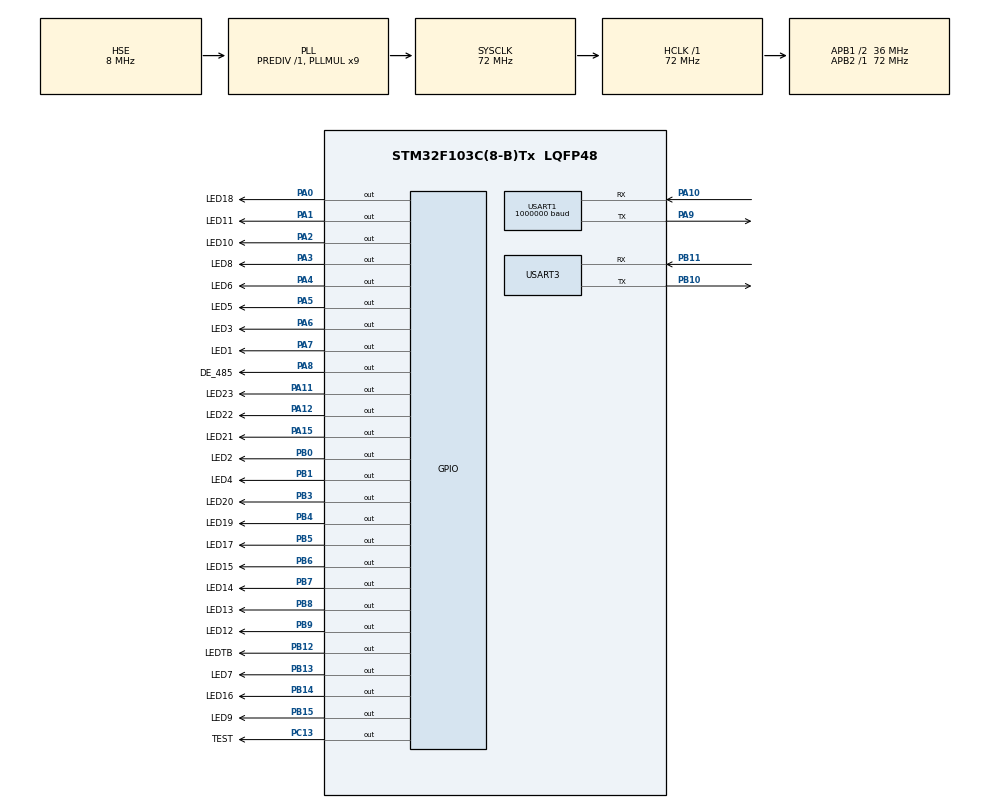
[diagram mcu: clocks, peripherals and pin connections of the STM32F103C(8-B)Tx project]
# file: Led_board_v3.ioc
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Mcu.Family=STM32F1
Mcu.Name=STM32F103C(8-B)Tx
Mcu.Package=LQFP48
NVIC.PriorityGroup=NVIC_PRIORITYGROUP_4
NVIC.TIM1_UP_IRQn=true\:2\:0\:true\:false\:true\:true\:true\:true
NVIC.TIM2_IRQn=true\:1\:0\:true\:false\:true\:true\:true\:true
NVIC.USART1_IRQn=true\:0\:0\:false\:false\:true\:true\:true\:true
NVIC.USART3_IRQn=true\:0\:0\:false\:false\:true\:true\:true\:true
PA0-WKUP.GPIO_Label=LED18
PA0-WKUP.Signal=GPIO_Output
PA1.GPIO_Label=LED11
PA1.Signal=GPIO_Output
PA10.Mode=Asynchronous
PA10.Signal=USART1_RX
PA11.GPIO_Label=LED23
PA11.Signal=GPIO_Output
PA12.GPIO_Label=LED22
PA12.Signal=GPIO_Output
PA13.Mode=Serial_Wire
PA13.Signal=SYS_JTMS-SWDIO
PA14.Mode=Serial_Wire
PA14.Signal=SYS_JTCK-SWCLK
PA15.GPIO_Label=LED21
PA15.Signal=GPIO_Output
PA2.GPIO_Label=LED10
PA2.Signal=GPIO_Output
PA3.GPIO_Label=LED8
PA3.Signal=GPIO_Output
PA4.GPIO_Label=LED6
PA4.Signal=GPIO_Output
PA5.GPIO_Label=LED5
PA5.Signal=GPIO_Output
PA6.GPIO_Label=LED3
PA6.Signal=GPIO_Output
PA7.GPIO_Label=LED1
PA7.Signal=GPIO_Output
PA8.GPIO_Label=DE_485
PA8.Signal=GPIO_Output
PA9.Mode=Asynchronous
PA9.Signal=USART1_TX
PB0.GPIO_Label=LED2
PB0.Signal=GPIO_Output
PB1.GPIO_Label=LED4
PB1.Signal=GPIO_Output
PB10.Mode=Asynchronous
PB10.Signal=USART3_TX
PB11.Mode=Asynchronous
PB11.Signal=USART3_RX
PB12.GPIO_Label=LEDTB
PB12.Signal=GPIO_Output
PB13.GPIO_Label=LED7
PB13.Signal=GPIO_Output
PB14.GPIO_Label=LED16
PB14.Signal=GPIO_Output
PB15.GPIO_Label=LED9
PB15.Signal=GPIO_Output
PB3.GPIO_Label=LED20
PB3.Signal=GPIO_Output
PB4.GPIO_Label=LED19
PB4.Signal=GPIO_Output
PB5.GPIO_Label=LED17
PB5.Signal=GPIO_Output
PB6.GPIO_Label=LED15
PB6.Signal=GPIO_Output
PB7.GPIO_Label=LED14
PB7.Signal=GPIO_Output
PB8.GPIO_Label=LED13
PB8.Signal=GPIO_Output
PB9.GPIO_Label=LED12
PB9.Signal=GPIO_Output
PC13-TAMPER-RTC.GPIO_Label=TEST
PC13-TAMPER-RTC.Signal=GPIO_Output
PD0-OSC_IN.Mode=HSE-External-Oscillator
PD0-OSC_IN.Signal=RCC_OSC_IN
PD1-OSC_OUT.Mode=HSE-External-Oscillator
PD1-OSC_OUT.Signal=RCC_OSC_OUT
ProjectManager.HeapSize=0x200
ProjectManager.StackSize=0x400
ProjectManager.TargetToolchain=MDK-ARM V5.32
RCC.AHBFreq_Value=72000000
RCC.APB1CLKDivider=RCC_HCLK_DIV2
RCC.APB1Freq_Value=36000000
RCC.APB1TimFreq_Value=72000000
RCC.APB2Freq_Value=72000000
RCC.APB2TimFreq_Value=72000000
RCC.HCLKFreq_Value=72000000
RCC.PLLMUL=RCC_PLL_MUL9
RCC.PLLSourceVirtual=RCC_PLLSOURCE_HSE
RCC.SYSCLKFreq_VALUE=72000000
RCC.SYSCLKSource=RCC_SYSCLKSOURCE_PLLCLK
RCC.USBFreq_Value=72000000
TIM1.Prescaler=72-1
TIM2.Period=999
TIM2.Prescaler=72-1
USART1.BaudRate=1000000
USART1.VirtualMode=VM_ASYNC
USART3.VirtualMode=VM_ASYNC
VP_TIM1_VS_ClockSourceINT.Mode=Internal
VP_TIM2_VS_ClockSourceINT.Mode=Internal
board=custom

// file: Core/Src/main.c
/* USER CODE BEGIN Header */
/**
  ******************************************************************************
  * @file           : main.c
  * @brief          : Main program body
  ******************************************************************************
  * @attention
  *
  * Copyright (c) 2024 STMicroelectronics.
  * All rights reserved.
  *
  * This software is licensed under terms that can be found in the LICENSE file
  * in the root directory of this software component.
  * If no LICENSE file comes with this software, it is provided AS-IS.
  *
  ******************************************************************************
  */
/* USER CODE END Header */
#include "main.h"

/* USER CODE BEGIN Includes */
#include "scan_led.h"
#include "rs485.h"
#include "uart.h"

/* USER CODE END Includes */

TIM_HandleTypeDef htim1;
TIM_HandleTypeDef htim2;

UART_HandleTypeDef huart1;
UART_HandleTypeDef huart3;

/* USER CODE BEGIN PV */
	uint32_t tick_whileTrue = 0;
	uint8_t buff_debug[1000];
	uint16_t cnt = 0;

	uint16_t co_ngat_RX = 0;
/* USER CODE END PV */

void SystemClock_Config(void);
static void MX_GPIO_Init(void);
static void MX_USART1_UART_Init(void);
static void MX_TIM1_Init(void);
static void MX_TIM2_Init(void);
static void MX_USART3_UART_Init(void);

/* USER CODE BEGIN 0 */

	/*_____________________________________________________________*/
		void HAL_UART_RxCpltCallback(UART_HandleTypeDef *huart)
		{
				if(huart->Instance == huart1.Instance)
				{
//					buff_debug[cnt] = vRS485.rxByte;
//					if(++cnt == 1000)
//						cnt = 0;
//
//					HAL_UART_Receive_IT(&huart1, &vRS485.rxByte, 1);
					co_ngat_RX++;
					RS485_Read(&vRS485);

				}
				if(huart->Instance == USART3)
				{
					UART_Read(&vUART3_JIG);
				}
			}

	/*_____________________________________________________________*/
		void HAL_TIM_PeriodElapsedCallback(TIM_HandleTypeDef *htim)
		{
			UNUSED(htim);
			if (htim->Instance == htim2.Instance) // every 1ms
			{
				HANDLE_MODE(&vFlag);
			}
		}

/* USER CODE END 0 */

int main(void)
{

  /* MCU Configuration--------------------------------------------------------*/

  /* Reset of all peripherals, Initializes the Flash interface and the Systick. */
  HAL_Init();

  /* Configure the system clock */
  SystemClock_Config();

  /* Initialize all configured peripherals */
  MX_GPIO_Init();
  MX_USART1_UART_Init();
  MX_TIM1_Init();
  MX_TIM2_Init();
  MX_USART3_UART_Init();
  /* USER CODE BEGIN 2 */

		for(uint16_t in=0; in<1000; in++)
			buff_debug[in] = 0xEA;

		Full_LED(off);
		FLAG_Init(&vFlag);
		RS485_Init(&vRS485, MACH_LED);
		UART_Init(&vUART3_JIG, &huart3);

		HAL_TIM_Base_Start_IT(&htim1);
		HAL_TIM_Base_Start_IT(&htim2);

  /* USER CODE END 2 */

  /* Infinite loop */
  while (1)
  {

    /* USER CODE BEGIN 3 */

		if(++tick_whileTrue >= 1000000)
			tick_whileTrue = 0;

		//Handle_Data_RS485_Rx(&vRS485, &vFlag);

		RS485_SendData(&vRS485, USART1, 1000);

		Handle_CMD_From_Jig(&vUART3_JIG);
  }
  /* USER CODE END 3 */
}

void SystemClock_Config(void)
{
  RCC_OscInitTypeDef RCC_OscInitStruct = {0};
  RCC_ClkInitTypeDef RCC_ClkInitStruct = {0};

  /** Initializes the RCC Oscillators according to the specified parameters
  * in the RCC_OscInitTypeDef structure.
  */
  RCC_OscInitStruct.OscillatorType = RCC_OSCILLATORTYPE_HSE;
  RCC_OscInitStruct.HSEState = RCC_HSE_ON;
  RCC_OscInitStruct.HSEPredivValue = RCC_HSE_PREDIV_DIV1;
  RCC_OscInitStruct.HSIState = RCC_HSI_ON;
  RCC_OscInitStruct.PLL.PLLState = RCC_PLL_ON;
  RCC_OscInitStruct.PLL.PLLSource = RCC_PLLSOURCE_HSE;
  RCC_OscInitStruct.PLL.PLLMUL = RCC_PLL_MUL9;
  if (HAL_RCC_OscConfig(&RCC_OscInitStruct) != HAL_OK)
  {
    Error_Handler();
  }

  /** Initializes the CPU, AHB and APB buses clocks
  */
  RCC_ClkInitStruct.ClockType = RCC_CLOCKTYPE_HCLK|RCC_CLOCKTYPE_SYSCLK
                              |RCC_CLOCKTYPE_PCLK1|RCC_CLOCKTYPE_PCLK2;
  RCC_ClkInitStruct.SYSCLKSource = RCC_SYSCLKSOURCE_PLLCLK;
  RCC_ClkInitStruct.AHBCLKDivider = RCC_SYSCLK_DIV1;
  RCC_ClkInitStruct.APB1CLKDivider = RCC_HCLK_DIV2;
  RCC_ClkInitStruct.APB2CLKDivider = RCC_HCLK_DIV1;

  if (HAL_RCC_ClockConfig(&RCC_ClkInitStruct, FLASH_LATENCY_2) != HAL_OK)
  {
    Error_Handler();
  }
}

static void MX_TIM1_Init(void)
{

  TIM_ClockConfigTypeDef sClockSourceConfig = {0};
  TIM_MasterConfigTypeDef sMasterConfig = {0};

  htim1.Instance = TIM1;
  htim1.Init.Prescaler = 72-1;
  htim1.Init.CounterMode = TIM_COUNTERMODE_UP;
  htim1.Init.Period = 65535;
  htim1.Init.ClockDivision = TIM_CLOCKDIVISION_DIV1;
  htim1.Init.RepetitionCounter = 0;
  htim1.Init.AutoReloadPreload = TIM_AUTORELOAD_PRELOAD_DISABLE;
  if (HAL_TIM_Base_Init(&htim1) != HAL_OK)
  {
    Error_Handler();
  }
  sClockSourceConfig.ClockSource = TIM_CLOCKSOURCE_INTERNAL;
  if (HAL_TIM_ConfigClockSource(&htim1, &sClockSourceConfig) != HAL_OK)
  {
    Error_Handler();
  }
  sMasterConfig.MasterOutputTrigger = TIM_TRGO_RESET;
  sMasterConfig.MasterSlaveMode = TIM_MASTERSLAVEMODE_DISABLE;
  if (HAL_TIMEx_MasterConfigSynchronization(&htim1, &sMasterConfig) != HAL_OK)
  {
    Error_Handler();
  }

}

static void MX_TIM2_Init(void)
{

  TIM_ClockConfigTypeDef sClockSourceConfig = {0};
  TIM_MasterConfigTypeDef sMasterConfig = {0};

  htim2.Instance = TIM2;
  htim2.Init.Prescaler = 72-1;
  htim2.Init.CounterMode = TIM_COUNTERMODE_UP;
  htim2.Init.Period = 999;
  htim2.Init.ClockDivision = TIM_CLOCKDIVISION_DIV1;
  htim2.Init.AutoReloadPreload = TIM_AUTORELOAD_PRELOAD_DISABLE;
  if (HAL_TIM_Base_Init(&htim2) != HAL_OK)
  {
    Error_Handler();
  }
  sClockSourceConfig.ClockSource = TIM_CLOCKSOURCE_INTERNAL;
  if (HAL_TIM_ConfigClockSource(&htim2, &sClockSourceConfig) != HAL_OK)
  {
    Error_Handler();
  }
  sMasterConfig.MasterOutputTrigger = TIM_TRGO_RESET;
  sMasterConfig.MasterSlaveMode = TIM_MASTERSLAVEMODE_DISABLE;
  if (HAL_TIMEx_MasterConfigSynchronization(&htim2, &sMasterConfig) != HAL_OK)
  {
    Error_Handler();
  }

}

static void MX_USART1_UART_Init(void)
{

  huart1.Instance = USART1;
  huart1.Init.BaudRate = 1000000;
  huart1.Init.WordLength = UART_WORDLENGTH_8B;
  huart1.Init.StopBits = UART_STOPBITS_1;
  huart1.Init.Parity = UART_PARITY_NONE;
  huart1.Init.Mode = UART_MODE_TX_RX;
  huart1.Init.HwFlowCtl = UART_HWCONTROL_NONE;
  huart1.Init.OverSampling = UART_OVERSAMPLING_16;
  if (HAL_UART_Init(&huart1) != HAL_OK)
  {
    Error_Handler();
  }

}

static void MX_USART3_UART_Init(void)
{

  huart3.Instance = USART3;
  huart3.Init.BaudRate = 115200;
  huart3.Init.WordLength = UART_WORDLENGTH_8B;
  huart3.Init.StopBits = UART_STOPBITS_1;
  huart3.Init.Parity = UART_PARITY_NONE;
  huart3.Init.Mode = UART_MODE_TX_RX;
  huart3.Init.HwFlowCtl = UART_HWCONTROL_NONE;
  huart3.Init.OverSampling = UART_OVERSAMPLING_16;
  if (HAL_UART_Init(&huart3) != HAL_OK)
  {
    Error_Handler();
  }

}

static void MX_GPIO_Init(void)
{
  GPIO_InitTypeDef GPIO_InitStruct = {0};

  /* GPIO Ports Clock Enable */
  __HAL_RCC_GPIOC_CLK_ENABLE();
  __HAL_RCC_GPIOD_CLK_ENABLE();
  __HAL_RCC_GPIOA_CLK_ENABLE();
  __HAL_RCC_GPIOB_CLK_ENABLE();

  /*Configure GPIO pin Output Level */
  HAL_GPIO_WritePin(TEST_GPIO_Port, TEST_Pin, GPIO_PIN_RESET);

  /*Configure GPIO pin Output Level */
  HAL_GPIO_WritePin(GPIOA, LED18_Pin|LED11_Pin|LED10_Pin|LED8_Pin
                          |LED6_Pin|LED5_Pin|LED3_Pin|LED1_Pin
                          |DE_485_Pin|LED23_Pin|LED22_Pin|LED21_Pin, GPIO_PIN_RESET);

  /*Configure GPIO pin Output Level */
  HAL_GPIO_WritePin(GPIOB, LED2_Pin|LED4_Pin|LEDTB_Pin|LED7_Pin
                          |LED16_Pin|LED9_Pin|LED20_Pin|LED19_Pin
                          |LED17_Pin|LED15_Pin|LED14_Pin|LED13_Pin
                          |LED12_Pin, GPIO_PIN_RESET);

  /*Configure GPIO pin : TEST_Pin */
  GPIO_InitStruct.Pin = TEST_Pin;
  GPIO_InitStruct.Mode = GPIO_MODE_OUTPUT_PP;
  GPIO_InitStruct.Pull = GPIO_NOPULL;
  GPIO_InitStruct.Speed = GPIO_SPEED_FREQ_LOW;
  HAL_GPIO_Init(TEST_GPIO_Port, &GPIO_InitStruct);

  /*Configure GPIO pins : LED18_Pin LED11_Pin LED10_Pin LED8_Pin
                           LED6_Pin LED5_Pin LED3_Pin LED1_Pin
                           DE_485_Pin LED23_Pin LED22_Pin LED21_Pin */
  GPIO_InitStruct.Pin = LED18_Pin|LED11_Pin|LED10_Pin|LED8_Pin
                          |LED6_Pin|LED5_Pin|LED3_Pin|LED1_Pin
                          |DE_485_Pin|LED23_Pin|LED22_Pin|LED21_Pin;
  GPIO_InitStruct.Mode = GPIO_MODE_OUTPUT_PP;
  GPIO_InitStruct.Pull = GPIO_NOPULL;
  GPIO_InitStruct.Speed = GPIO_SPEED_FREQ_LOW;
  HAL_GPIO_Init(GPIOA, &GPIO_InitStruct);

  /*Configure GPIO pins : LED2_Pin LED4_Pin LEDTB_Pin LED7_Pin
                           LED16_Pin LED9_Pin LED20_Pin LED19_Pin
                           LED17_Pin LED15_Pin LED14_Pin LED13_Pin
                           LED12_Pin */
  GPIO_InitStruct.Pin = LED2_Pin|LED4_Pin|LEDTB_Pin|LED7_Pin
                          |LED16_Pin|LED9_Pin|LED20_Pin|LED19_Pin
                          |LED17_Pin|LED15_Pin|LED14_Pin|LED13_Pin
                          |LED12_Pin;
  GPIO_InitStruct.Mode = GPIO_MODE_OUTPUT_PP;
  GPIO_InitStruct.Pull = GPIO_NOPULL;
  GPIO_InitStruct.Speed = GPIO_SPEED_FREQ_LOW;
  HAL_GPIO_Init(GPIOB, &GPIO_InitStruct);

}

void Error_Handler(void)
{
  __disable_irq();
  while (1)
  {
  }
}
